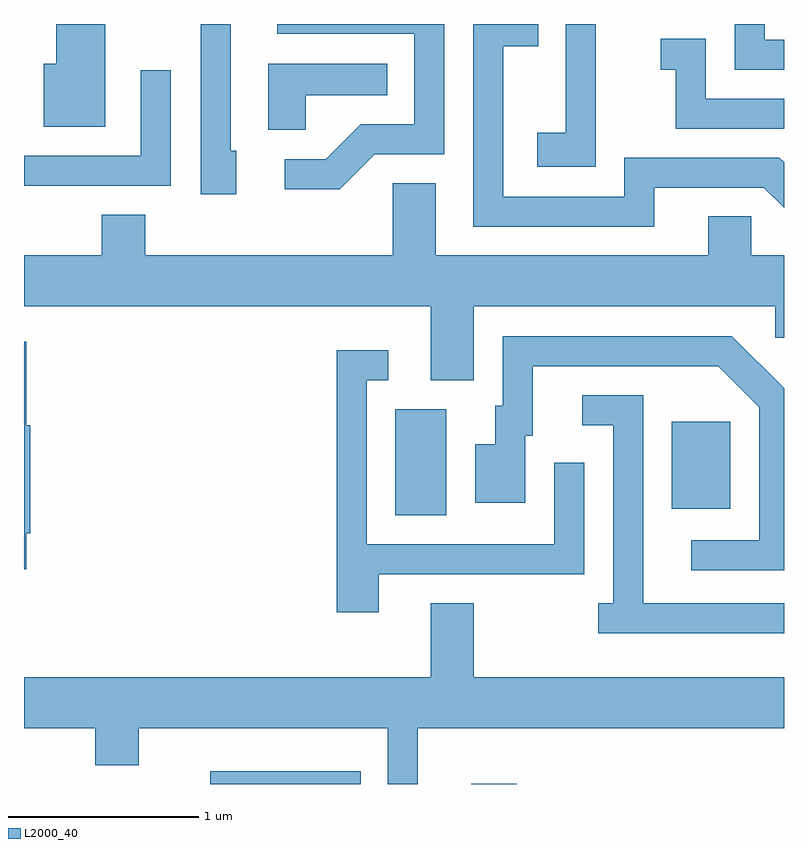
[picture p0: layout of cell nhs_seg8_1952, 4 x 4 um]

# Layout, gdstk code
import gdstk
lib = gdstk.Library(unit=1e-6, precision=1e-09)
def R(c, l, rs):  # rectangles x0, y0, x1, y1
    for r in rs: c.add(gdstk.rectangle(r[:2], r[2:], *l))
def P(c, l, *ps):  # polygons
    for p in ps: c.add(gdstk.Polygon(p, *l))
L2000_40 = (2000, 40)

nhs_seg8_1952 = lib.new_cell('nhs_seg8_1952')
R(nhs_seg8_1952, L2000_40, [(244.591,1838.342,245.383,1838.409), (245.966,1838.342,246.204,1838.344), (245.566,1839.756,245.834,1840.314), (247.021,1839.791,247.329,1840.249)])
P(nhs_seg8_1952, L2000_40, [(247.611,1842.259),(247.509,1842.259),(247.509,1842.342),(247.351,1842.342),(247.351,1842.101),(247.611,1842.101)],
  [(246.619,1842.342),(246.461,1842.342),(246.461,1841.769),(246.311,1841.769),(246.311,1841.591),(246.619,1841.591)],
  [(244.729,1841.674),(244.699,1841.674),(244.699,1842.342),(244.541,1842.342),(244.541,1841.446),(244.729,1841.446)],
  [(246.929,1841.481),(247.504,1841.481),(247.611,1841.374),(247.611,1841.615),(247.587,1841.639),(246.771,1841.639),(246.771,1841.434),(246.134,1841.434),(246.134,1842.226),(246.318,1842.226),(246.318,1842.342),(245.976,1842.342),(245.976,1841.276),(246.929,1841.276)],
  [(245.457,1841.656),(245.824,1841.656),(245.824,1842.342),(244.943,1842.342),(244.943,1842.291),(245.666,1842.291),(245.666,1841.814),(245.384,1841.814),(245.199,1841.629),(244.983,1841.629),(244.983,1841.471),(245.272,1841.471)],
  [(244.039,1842.342),(243.781,1842.342),(243.781,1842.134),(243.716,1842.134),(243.716,1841.801),(244.039,1841.801)],
  [(247.611,1841.949),(247.199,1841.949),(247.199,1842.264),(246.963,1842.264),(246.963,1842.101),(247.041,1842.101),(247.041,1841.791),(247.611,1841.791)],
  [(245.094,1841.966),(245.523,1841.966),(245.523,1842.134),(244.896,1842.134),(244.896,1841.786),(245.094,1841.786)],
  [(244.384,1842.098),(244.226,1842.098),(244.226,1841.649),(243.611,1841.649),(243.611,1841.491),(244.384,1841.491)],
  [(245.979,1840.856),(247.566,1840.856),(247.566,1840.691),(247.611,1840.691),(247.611,1841.124),(247.439,1841.124),(247.439,1841.329),(247.211,1841.329),(247.211,1841.124),(245.779,1841.124),(245.779,1841.504),(245.551,1841.504),(245.551,1841.124),(244.249,1841.124),(244.249,1841.339),(244.021,1841.339),(244.021,1841.124),(243.611,1841.124),(243.611,1840.856),(245.751,1840.856),(245.751,1840.466),(245.979,1840.466)],
  [(247.611,1840.425),(247.337,1840.699),(246.131,1840.699),(246.131,1840.334),(246.091,1840.334),(246.091,1840.129),(245.986,1840.129),(245.986,1839.821),(246.249,1839.821),(246.249,1840.176),(246.289,1840.176),(246.289,1840.541),(247.264,1840.541),(247.481,1840.324),(247.481,1839.624),(247.123,1839.624),(247.123,1839.466),(247.611,1839.466)],
  [(243.624,1839.661),(243.644,1839.661),(243.644,1840.229),(243.624,1840.229),(243.624,1840.669),(243.611,1840.669),(243.611,1839.471),(243.624,1839.471)],
  [(245.479,1839.446),(246.559,1839.446),(246.559,1840.033),(246.401,1840.033),(246.401,1839.604),(245.414,1839.604),(245.414,1840.466),(245.528,1840.466),(245.528,1840.624),(245.256,1840.624),(245.256,1839.246),(245.479,1839.246)],
  [(247.611,1839.294),(246.869,1839.294),(246.869,1840.389),(246.548,1840.389),(246.548,1840.231),(246.711,1840.231),(246.711,1839.294),(246.633,1839.294),(246.633,1839.136),(247.611,1839.136)],
  [(245.684,1838.636),(247.611,1838.636),(247.611,1838.904),(245.979,1838.904),(245.979,1839.294),(245.751,1839.294),(245.751,1838.904),(243.611,1838.904),(243.611,1838.636),(243.986,1838.636),(243.986,1838.441),(244.214,1838.441),(244.214,1838.636),(245.526,1838.636),(245.526,1838.342),(245.684,1838.342)])

lib.write_gds('nhs_seg8_1952.gds')
